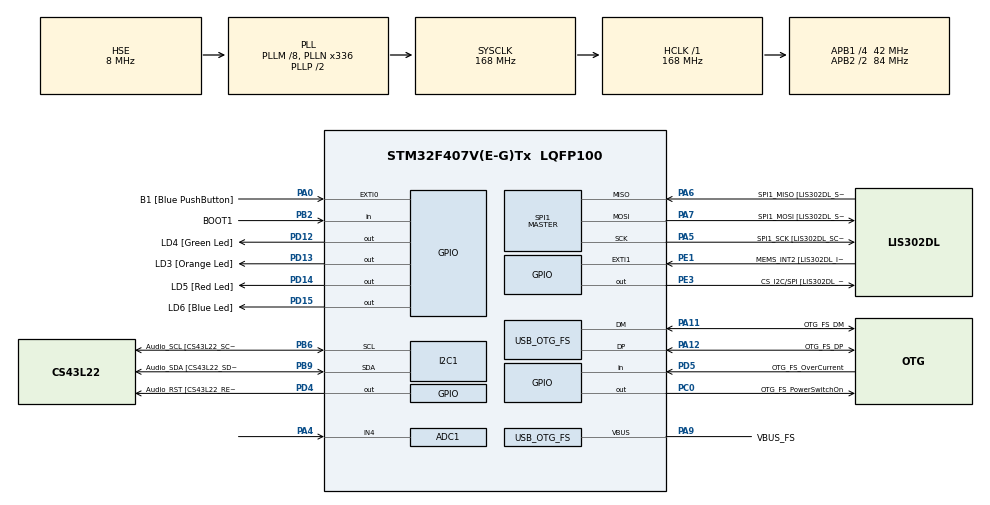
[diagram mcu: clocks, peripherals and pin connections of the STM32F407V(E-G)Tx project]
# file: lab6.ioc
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ADC1.Channel-0\#ChannelRegularConversion=ADC_CHANNEL_4
ADC1.NbrOfConversionFlag=1
ADC1.Rank-0\#ChannelRegularConversion=1
ADC1.Resolution=ADC_RESOLUTION_10B
ADC1.SamplingTime-0\#ChannelRegularConversion=ADC_SAMPLETIME_3CYCLES
ADC1.master=1
Mcu.Family=STM32F4
Mcu.Name=STM32F407V(E-G)Tx
Mcu.Package=LQFP100
NVIC.ADC_IRQn=true\:0\:0\:false\:false\:true\:true\:true\:true
NVIC.OTG_FS_IRQn=true\:0\:0\:false\:false\:true\:true\:true\:true
NVIC.PriorityGroup=NVIC_PRIORITYGROUP_0
PA0-WKUP.GPIO_Label=B1 [Blue PushButton]
PA0-WKUP.GPIO_ModeDefaultEXTI=GPIO_MODE_EVT_RISING
PA0-WKUP.GPIO_PuPd=GPIO_NOPULL
PA0-WKUP.Signal=GPXTI0
PA10.GPIO_Label=OTG_FS_ID
PA10.GPIO_Mode=GPIO_MODE_AF_PP
PA10.GPIO_PuPd=GPIO_NOPULL
PA10.GPIO_Speed=GPIO_SPEED_FREQ_LOW
PA10.Signal=USB_OTG_FS_ID
PA11.GPIO_Label=OTG_FS_DM
PA11.GPIO_Mode=GPIO_MODE_AF_PP
PA11.GPIO_PuPd=GPIO_NOPULL
PA11.GPIO_Speed=GPIO_SPEED_FREQ_LOW
PA11.Mode=Host_Only
PA11.Signal=USB_OTG_FS_DM
PA12.GPIO_Label=OTG_FS_DP
PA12.GPIO_Mode=GPIO_MODE_AF_PP
PA12.GPIO_PuPd=GPIO_NOPULL
PA12.GPIO_Speed=GPIO_SPEED_FREQ_LOW
PA12.Mode=Host_Only
PA12.Signal=USB_OTG_FS_DP
PA13.GPIO_Label=SWDIO
PA13.Mode=Serial_Wire
PA13.Signal=SYS_JTMS-SWDIO
PA14.GPIO_Label=SWCLK
PA14.Mode=Serial_Wire
PA14.Signal=SYS_JTCK-SWCLK
PA4.Signal=ADCx_IN4
PA5.GPIO_Label=SPI1_SCK [LIS302DL_SCL/SPC]
PA5.GPIO_Mode=GPIO_MODE_AF_PP
PA5.GPIO_PuPd=GPIO_NOPULL
PA5.GPIO_Speed=GPIO_SPEED_FREQ_LOW
PA5.Mode=Full_Duplex_Master
PA5.Signal=SPI1_SCK
PA6.GPIO_Label=SPI1_MISO [LIS302DL_SDO]
PA6.GPIO_Mode=GPIO_MODE_AF_PP
PA6.GPIO_PuPd=GPIO_NOPULL
PA6.GPIO_Speed=GPIO_SPEED_FREQ_LOW
PA6.Mode=Full_Duplex_Master
PA6.Signal=SPI1_MISO
PA7.GPIO_Label=SPI1_MOSI [LIS302DL_SDA/SDI/SDO]
PA7.GPIO_Mode=GPIO_MODE_AF_PP
PA7.GPIO_PuPd=GPIO_NOPULL
PA7.GPIO_Speed=GPIO_SPEED_FREQ_LOW
PA7.Mode=Full_Duplex_Master
PA7.Signal=SPI1_MOSI
PA9.GPIO_Label=VBUS_FS
PA9.GPIO_Mode=GPIO_MODE_INPUT
PA9.GPIO_PuPd=GPIO_NOPULL
PA9.Mode=Activate_VBUS
PA9.Signal=USB_OTG_FS_VBUS
PB10.GPIO_Label=CLK_IN [MP45DT02_CLK]
PB10.GPIO_Mode=GPIO_MODE_AF_PP
PB10.GPIO_PuPd=GPIO_NOPULL
PB10.GPIO_Speed=GPIO_SPEED_FREQ_LOW
PB10.Signal=I2S2_CK
PB2.GPIO_Label=BOOT1
PB2.GPIO_Mode=GPIO_MODE_INPUT
PB2.GPIO_PuPd=GPIO_NOPULL
PB2.Signal=GPIO_Input
PB3.GPIO_Label=SWO
PB3.Signal=SYS_JTDO-SWO
PB6.GPIO_Label=Audio_SCL [CS43L22_SCL]
PB6.GPIO_Mode=GPIO_MODE_AF_OD
PB6.GPIO_Pu=GPIO_PULLUP
PB6.GPIO_PuPd=GPIO_NOPULL
PB6.GPIO_Speed=GPIO_SPEED_FREQ_LOW
PB6.Mode=I2C
PB6.Signal=I2C1_SCL
PB9.GPIO_Label=Audio_SDA [CS43L22_SDA]
PB9.GPIO_Mode=GPIO_MODE_AF_OD
PB9.GPIO_Pu=GPIO_PULLUP
PB9.GPIO_PuPd=GPIO_NOPULL
PB9.GPIO_Speed=GPIO_SPEED_FREQ_LOW
PB9.Mode=I2C
PB9.Signal=I2C1_SDA
PC0.GPIO_Label=OTG_FS_PowerSwitchOn
PC0.GPIO_PuPd=GPIO_NOPULL
PC0.GPIO_Speed=GPIO_SPEED_FREQ_LOW
PC0.PinState=GPIO_PIN_SET
PC0.Signal=GPIO_Output
PC10.GPIO_Label=I2S3_SCK [CS43L22_SCLK]
PC10.GPIO_Mode=GPIO_MODE_AF_PP
PC10.GPIO_PuPd=GPIO_NOPULL
PC10.GPIO_Speed=GPIO_SPEED_FREQ_LOW
PC10.Signal=I2S3_CK
PC12.GPIO_Label=I2S3_SD [CS43L22_SDIN]
PC12.GPIO_Mode=GPIO_MODE_AF_PP
PC12.GPIO_PuPd=GPIO_NOPULL
PC12.GPIO_Speed=GPIO_SPEED_FREQ_LOW
PC12.Signal=I2S3_SD
PC14-OSC32_IN.GPIO_Label=PC14-OSC32_IN
PC14-OSC32_IN.Mode=LSE-External-Oscillator
PC14-OSC32_IN.Signal=RCC_OSC32_IN
PC15-OSC32_OUT.GPIO_Label=PC15-OSC32_OUT
PC15-OSC32_OUT.Mode=LSE-External-Oscillator
PC15-OSC32_OUT.Signal=RCC_OSC32_OUT
PC3.GPIO_Label=PDM_OUT [MP45DT02_DOUT]
PC3.GPIO_Mode=GPIO_MODE_AF_PP
PC3.GPIO_PuPd=GPIO_NOPULL
PC3.GPIO_Speed=GPIO_SPEED_FREQ_LOW
PC3.Signal=I2S2_SD
PC7.GPIO_Label=I2S3_MCK [CS43L22_MCLK]
PC7.GPIO_Mode=GPIO_MODE_AF_PP
PC7.GPIO_PuPd=GPIO_NOPULL
PC7.GPIO_Speed=GPIO_SPEED_FREQ_LOW
PC7.Signal=I2S3_MCK
PD12.GPIO_Label=LD4 [Green Led]
PD12.GPIO_PuPd=GPIO_NOPULL
PD12.GPIO_Speed=GPIO_SPEED_FREQ_LOW
PD12.Signal=GPIO_Output
PD13.GPIO_Label=LD3 [Orange Led]
PD13.GPIO_PuPd=GPIO_NOPULL
PD13.GPIO_Speed=GPIO_SPEED_FREQ_LOW
PD13.Signal=GPIO_Output
PD14.GPIO_Label=LD5 [Red Led]
PD14.GPIO_PuPd=GPIO_NOPULL
PD14.GPIO_Speed=GPIO_SPEED_FREQ_LOW
PD14.Signal=GPIO_Output
PD15.GPIO_Label=LD6 [Blue Led]
PD15.GPIO_PuPd=GPIO_NOPULL
PD15.GPIO_Speed=GPIO_SPEED_FREQ_LOW
PD15.Signal=GPIO_Output
PD4.GPIO_Label=Audio_RST [CS43L22_RESET]
PD4.GPIO_PuPd=GPIO_NOPULL
PD4.GPIO_Speed=GPIO_SPEED_FREQ_LOW
PD4.Signal=GPIO_Output
PD5.GPIO_Label=OTG_FS_OverCurrent
PD5.GPIO_Mode=GPIO_MODE_INPUT
PD5.GPIO_PuPd=GPIO_NOPULL
PD5.Signal=GPIO_Input
PE1.GPIO_Label=MEMS_INT2 [LIS302DL_INT2]
PE1.GPIO_ModeDefaultEXTI=GPIO_MODE_EVT_RISING
PE1.GPIO_PuPd=GPIO_NOPULL
PE1.Signal=GPXTI1
PE3.GPIO_Label=CS_I2C/SPI [LIS302DL_CS_I2C/SPI]
PE3.GPIO_PuPd=GPIO_NOPULL
PE3.GPIO_Speed=GPIO_SPEED_FREQ_LOW
PE3.Signal=GPIO_Output
PH0-OSC_IN.GPIO_Label=PH0-OSC_IN
PH0-OSC_IN.Mode=HSE-External-Oscillator
PH0-OSC_IN.Signal=RCC_OSC_IN
PH1-OSC_OUT.GPIO_Label=PH1-OSC_OUT
PH1-OSC_OUT.Mode=HSE-External-Oscillator
PH1-OSC_OUT.Signal=RCC_OSC_OUT
ProjectManager.HeapSize=0x200
ProjectManager.StackSize=0x400
ProjectManager.TargetToolchain=STM32CubeIDE
RCC.48MHZClocksFreq_Value=48000000
RCC.AHBFreq_Value=168000000
RCC.APB1CLKDivider=RCC_HCLK_DIV4
RCC.APB1Freq_Value=42000000
RCC.APB1TimFreq_Value=84000000
RCC.APB2CLKDivider=RCC_HCLK_DIV2
RCC.APB2Freq_Value=84000000
RCC.APB2TimFreq_Value=168000000
RCC.CortexFreq_Value=168000000
RCC.HCLKFreq_Value=168000000
RCC.HSE_VALUE=8000000
RCC.HSI_VALUE=16000000
RCC.PLLM=8
RCC.PLLN=336
RCC.PLLQ=7
RCC.SYSCLKFreq_VALUE=168000000
RCC.SYSCLKSource=RCC_SYSCLKSOURCE_PLLCLK
RCC.VCOOutputFreq_Value=336000000
SH.ADCx_IN4.0=ADC1_IN4,IN4
SPI1.BaudRatePrescaler-Full_Duplex_Master=SPI_BAUDRATEPRESCALER_2
SPI1.CalculateBaudRate-Full_Duplex_Master=42.0 MBits/s
SPI1.Direction=SPI_DIRECTION_2LINES
SPI1.Mode=SPI_MODE_MASTER
SPI1.Mode-Full_Duplex_Master=SPI_MODE_MASTER
SPI1.VirtualType=VM_MASTER
USB_HOST.BSP.number=1
USB_HOST.USBH_HandleTypeDef-CDC_FS=hUsbHostFS
USB_HOST.VirtualModeFS=Cdc
USB_HOST0.BSP.STBoard=false
USB_HOST0.BSP.api=Unknown
USB_HOST0.BSP.instance=PC0
USB_HOST0.BSP.ip=GPIO
USB_HOST0.BSP.mode=Output
USB_HOST0.BSP.name=Drive_VBUS_FS
USB_HOST0.BSP.solution=PC0
USB_OTG_FS.VirtualMode=Host_Only
USB_OTG_FS.phy_itface=HCD_PHY_EMBEDDED
VP_USB_HOST_VS_USB_HOST_CDC_FS.Mode=CDC_FS
board=STM32F407G-DISC1

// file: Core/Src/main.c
/* USER CODE BEGIN Header */
/**
  ***************************************
  * @file           : main.c
  * @brief          : Main program body
  ********************************************
  * @attention
  *
  * Copyright (c) 2024 STMicroelectronics.
  * All rights reserved.
  *
  * This software is licensed under terms that can be found in the LICENSE file
  * in the root directory of this software component.
  * If no LICENSE file comes with this software, it is provided AS-IS.
  *
  *************************************
  */
/* USER CODE END Header */
#include "main.h"
#include "usb_host.h"

/* USER CODE BEGIN Includes */

#include "display.h"

/* USER CODE END Includes */

ADC_HandleTypeDef hadc1;

I2C_HandleTypeDef hi2c1;

SPI_HandleTypeDef hspi1;

void SystemClock_Config(void);
static void MX_GPIO_Init(void);
static void MX_I2C1_Init(void);
static void MX_SPI1_Init(void);
static void MX_ADC1_Init(void);
void MX_USB_HOST_Process(void);

/* USER CODE BEGIN 0 */

static uint16_t u16S_adc;

void HAL_ADC_ConvCpltCallback(ADC_HandleTypeDef* hadc)
{
	if (hadc == &hadc1)
	{
	u16S_adc = HAL_ADC_GetValue(&hadc1);
	}
}

/* USER CODE END 0 */

int main(void)
{

  /* MCU Configuration-------------------------------------*/

  /* Reset of all peripherals, Initializes the Flash interface and the Systick. */
  HAL_Init();

  /* Configure the system clock */
  SystemClock_Config();

  /* Initialize all configured peripherals */
  MX_GPIO_Init();
  MX_I2C1_Init();
  MX_SPI1_Init();
  MX_USB_HOST_Init();
  MX_ADC1_Init();
  /* USER CODE BEGIN 2 */

  #define BEAT_LEVEL 450
  uint16_t u16S_beat_count = 0;
	uint16_t u16L_old_value = 0;
	uint16_t u16L_saved_time = 0;
	uint16_t u16L_timer = HAL_GetTick();

  /* USER CODE END 2 */

  /* Infinite loop */
  while (1)
  {
    MX_USB_HOST_Process();

    /* USER CODE BEGIN 3 */
    clear();
    char str[16];

	if (HAL_GetTick() - u16L_timer > 10)
	{
	// Start convertation every 10ms
	HAL_ADC_Start_IT(&hadc1);
	}
	if (u16L_old_value > BEAT_LEVEL && u16S_adc < BEAT_LEVEL)
	{
	uint16_t u16L_period = HAL_GetTick() - u16L_saved_time;
	if (u16L_period != 0)
	{
	u16S_beat_count = 60000 / u16L_period;
	sprintf(str, "%d", u16S_beat_count);
	}
	u16L_saved_time = HAL_GetTick();
	}
	u16L_old_value = u16S_adc;
	setCursor(0, 0);
	lcdString(str);
  }
  /* USER CODE END 3 */
}

void SystemClock_Config(void)
{
  RCC_OscInitTypeDef RCC_OscInitStruct = {0};
  RCC_ClkInitTypeDef RCC_ClkInitStruct = {0};

  /** Configure the main internal regulator output voltage
  */
  __HAL_RCC_PWR_CLK_ENABLE();
  __HAL_PWR_VOLTAGESCALING_CONFIG(PWR_REGULATOR_VOLTAGE_SCALE1);

  /** Initializes the RCC Oscillators according to the specified parameters
  * in the RCC_OscInitTypeDef structure.
  */
  RCC_OscInitStruct.OscillatorType = RCC_OSCILLATORTYPE_HSE;
  RCC_OscInitStruct.HSEState = RCC_HSE_ON;
  RCC_OscInitStruct.PLL.PLLState = RCC_PLL_ON;
  RCC_OscInitStruct.PLL.PLLSource = RCC_PLLSOURCE_HSE;
  RCC_OscInitStruct.PLL.PLLM = 8;
  RCC_OscInitStruct.PLL.PLLN = 336;
  RCC_OscInitStruct.PLL.PLLP = RCC_PLLP_DIV2;
  RCC_OscInitStruct.PLL.PLLQ = 7;
  if (HAL_RCC_OscConfig(&RCC_OscInitStruct) != HAL_OK)
  {
    Error_Handler();
  }

  /** Initializes the CPU, AHB and APB buses clocks
  */
  RCC_ClkInitStruct.ClockType = RCC_CLOCKTYPE_HCLK|RCC_CLOCKTYPE_SYSCLK
                              |RCC_CLOCKTYPE_PCLK1|RCC_CLOCKTYPE_PCLK2;
  RCC_ClkInitStruct.SYSCLKSource = RCC_SYSCLKSOURCE_PLLCLK;
  RCC_ClkInitStruct.AHBCLKDivider = RCC_SYSCLK_DIV1;
  RCC_ClkInitStruct.APB1CLKDivider = RCC_HCLK_DIV4;
  RCC_ClkInitStruct.APB2CLKDivider = RCC_HCLK_DIV2;

  if (HAL_RCC_ClockConfig(&RCC_ClkInitStruct, FLASH_LATENCY_5) != HAL_OK)
  {
    Error_Handler();
  }
}

static void MX_ADC1_Init(void)
{

  ADC_ChannelConfTypeDef sConfig = {0};

  /** Configure the global features of the ADC (Clock, Resolution, Data Alignment and number of conversion)
  */
  hadc1.Instance = ADC1;
  hadc1.Init.ClockPrescaler = ADC_CLOCK_SYNC_PCLK_DIV4;
  hadc1.Init.Resolution = ADC_RESOLUTION_10B;
  hadc1.Init.ScanConvMode = DISABLE;
  hadc1.Init.ContinuousConvMode = DISABLE;
  hadc1.Init.DiscontinuousConvMode = DISABLE;
  hadc1.Init.ExternalTrigConvEdge = ADC_EXTERNALTRIGCONVEDGE_NONE;
  hadc1.Init.ExternalTrigConv = ADC_SOFTWARE_START;
  hadc1.Init.DataAlign = ADC_DATAALIGN_RIGHT;
  hadc1.Init.NbrOfConversion = 1;
  hadc1.Init.DMAContinuousRequests = DISABLE;
  hadc1.Init.EOCSelection = ADC_EOC_SINGLE_CONV;
  if (HAL_ADC_Init(&hadc1) != HAL_OK)
  {
    Error_Handler();
  }

  /** Configure for the selected ADC regular channel its corresponding rank in the sequencer and its sample time.
  */
  sConfig.Channel = ADC_CHANNEL_4;
  sConfig.Rank = 1;
  sConfig.SamplingTime = ADC_SAMPLETIME_3CYCLES;
  if (HAL_ADC_ConfigChannel(&hadc1, &sConfig) != HAL_OK)
  {
    Error_Handler();
  }

}

static void MX_I2C1_Init(void)
{

  hi2c1.Instance = I2C1;
  hi2c1.Init.ClockSpeed = 100000;
  hi2c1.Init.DutyCycle = I2C_DUTYCYCLE_2;
  hi2c1.Init.OwnAddress1 = 0;
  hi2c1.Init.AddressingMode = I2C_ADDRESSINGMODE_7BIT;
  hi2c1.Init.DualAddressMode = I2C_DUALADDRESS_DISABLE;
  hi2c1.Init.OwnAddress2 = 0;
  hi2c1.Init.GeneralCallMode = I2C_GENERALCALL_DISABLE;
  hi2c1.Init.NoStretchMode = I2C_NOSTRETCH_DISABLE;
  if (HAL_I2C_Init(&hi2c1) != HAL_OK)
  {
    Error_Handler();
  }

}

static void MX_SPI1_Init(void)
{

  /* SPI1 parameter configuration*/
  hspi1.Instance = SPI1;
  hspi1.Init.Mode = SPI_MODE_MASTER;
  hspi1.Init.Direction = SPI_DIRECTION_2LINES;
  hspi1.Init.DataSize = SPI_DATASIZE_8BIT;
  hspi1.Init.CLKPolarity = SPI_POLARITY_LOW;
  hspi1.Init.CLKPhase = SPI_PHASE_1EDGE;
  hspi1.Init.NSS = SPI_NSS_SOFT;
  hspi1.Init.BaudRatePrescaler = SPI_BAUDRATEPRESCALER_2;
  hspi1.Init.FirstBit = SPI_FIRSTBIT_MSB;
  hspi1.Init.TIMode = SPI_TIMODE_DISABLE;
  hspi1.Init.CRCCalculation = SPI_CRCCALCULATION_DISABLE;
  hspi1.Init.CRCPolynomial = 10;
  if (HAL_SPI_Init(&hspi1) != HAL_OK)
  {
    Error_Handler();
  }

}

static void MX_GPIO_Init(void)
{
  GPIO_InitTypeDef GPIO_InitStruct = {0};

  /* GPIO Ports Clock Enable */
  __HAL_RCC_GPIOE_CLK_ENABLE();
  __HAL_RCC_GPIOC_CLK_ENABLE();
  __HAL_RCC_GPIOH_CLK_ENABLE();
  __HAL_RCC_GPIOA_CLK_ENABLE();
  __HAL_RCC_GPIOB_CLK_ENABLE();
  __HAL_RCC_GPIOD_CLK_ENABLE();

  /*Configure GPIO pin Output Level */
  HAL_GPIO_WritePin(CS_I2C_SPI_GPIO_Port, CS_I2C_SPI_Pin, GPIO_PIN_RESET);

  /*Configure GPIO pin Output Level */
  HAL_GPIO_WritePin(OTG_FS_PowerSwitchOn_GPIO_Port, OTG_FS_PowerSwitchOn_Pin, GPIO_PIN_SET);

  /*Configure GPIO pin Output Level */
  HAL_GPIO_WritePin(GPIOD, LD4_Pin|LD3_Pin|LD5_Pin|LD6_Pin
                          |Audio_RST_Pin, GPIO_PIN_RESET);

  /*Configure GPIO pin : CS_I2C_SPI_Pin */
  GPIO_InitStruct.Pin = CS_I2C_SPI_Pin;
  GPIO_InitStruct.Mode = GPIO_MODE_OUTPUT_PP;
  GPIO_InitStruct.Pull = GPIO_NOPULL;
  GPIO_InitStruct.Speed = GPIO_SPEED_FREQ_LOW;
  HAL_GPIO_Init(CS_I2C_SPI_GPIO_Port, &GPIO_InitStruct);

  /*Configure GPIO pin : OTG_FS_PowerSwitchOn_Pin */
  GPIO_InitStruct.Pin = OTG_FS_PowerSwitchOn_Pin;
  GPIO_InitStruct.Mode = GPIO_MODE_OUTPUT_PP;
  GPIO_InitStruct.Pull = GPIO_NOPULL;
  GPIO_InitStruct.Speed = GPIO_SPEED_FREQ_LOW;
  HAL_GPIO_Init(OTG_FS_PowerSwitchOn_GPIO_Port, &GPIO_InitStruct);

  /*Configure GPIO pin : PDM_OUT_Pin */
  GPIO_InitStruct.Pin = PDM_OUT_Pin;
  GPIO_InitStruct.Mode = GPIO_MODE_AF_PP;
  GPIO_InitStruct.Pull = GPIO_NOPULL;
  GPIO_InitStruct.Speed = GPIO_SPEED_FREQ_LOW;
  GPIO_InitStruct.Alternate = GPIO_AF5_SPI2;
  HAL_GPIO_Init(PDM_OUT_GPIO_Port, &GPIO_InitStruct);

  /*Configure GPIO pin : B1_Pin */
  GPIO_InitStruct.Pin = B1_Pin;
  GPIO_InitStruct.Mode = GPIO_MODE_EVT_RISING;
  GPIO_InitStruct.Pull = GPIO_NOPULL;
  HAL_GPIO_Init(B1_GPIO_Port, &GPIO_InitStruct);

  /*Configure GPIO pin : BOOT1_Pin */
  GPIO_InitStruct.Pin = BOOT1_Pin;
  GPIO_InitStruct.Mode = GPIO_MODE_INPUT;
  GPIO_InitStruct.Pull = GPIO_NOPULL;
  HAL_GPIO_Init(BOOT1_GPIO_Port, &GPIO_InitStruct);

  /*Configure GPIO pin : CLK_IN_Pin */
  GPIO_InitStruct.Pin = CLK_IN_Pin;
  GPIO_InitStruct.Mode = GPIO_MODE_AF_PP;
  GPIO_InitStruct.Pull = GPIO_NOPULL;
  GPIO_InitStruct.Speed = GPIO_SPEED_FREQ_LOW;
  GPIO_InitStruct.Alternate = GPIO_AF5_SPI2;
  HAL_GPIO_Init(CLK_IN_GPIO_Port, &GPIO_InitStruct);

  /*Configure GPIO pins : LD4_Pin LD3_Pin LD5_Pin LD6_Pin
                           Audio_RST_Pin */
  GPIO_InitStruct.Pin = LD4_Pin|LD3_Pin|LD5_Pin|LD6_Pin
                          |Audio_RST_Pin;
  GPIO_InitStruct.Mode = GPIO_MODE_OUTPUT_PP;
  GPIO_InitStruct.Pull = GPIO_NOPULL;
  GPIO_InitStruct.Speed = GPIO_SPEED_FREQ_LOW;
  HAL_GPIO_Init(GPIOD, &GPIO_InitStruct);

  /*Configure GPIO pins : I2S3_MCK_Pin I2S3_SCK_Pin I2S3_SD_Pin */
  GPIO_InitStruct.Pin = I2S3_MCK_Pin|I2S3_SCK_Pin|I2S3_SD_Pin;
  GPIO_InitStruct.Mode = GPIO_MODE_AF_PP;
  GPIO_InitStruct.Pull = GPIO_NOPULL;
  GPIO_InitStruct.Speed = GPIO_SPEED_FREQ_LOW;
  GPIO_InitStruct.Alternate = GPIO_AF6_SPI3;
  HAL_GPIO_Init(GPIOC, &GPIO_InitStruct);

  /*Configure GPIO pin : OTG_FS_OverCurrent_Pin */
  GPIO_InitStruct.Pin = OTG_FS_OverCurrent_Pin;
  GPIO_InitStruct.Mode = GPIO_MODE_INPUT;
  GPIO_InitStruct.Pull = GPIO_NOPULL;
  HAL_GPIO_Init(OTG_FS_OverCurrent_GPIO_Port, &GPIO_InitStruct);

  /*Configure GPIO pin : MEMS_INT2_Pin */
  GPIO_InitStruct.Pin = MEMS_INT2_Pin;
  GPIO_InitStruct.Mode = GPIO_MODE_EVT_RISING;
  GPIO_InitStruct.Pull = GPIO_NOPULL;
  HAL_GPIO_Init(MEMS_INT2_GPIO_Port, &GPIO_InitStruct);

}

void Error_Handler(void)
{
  __disable_irq();
  while (1)
  {
  }
}
